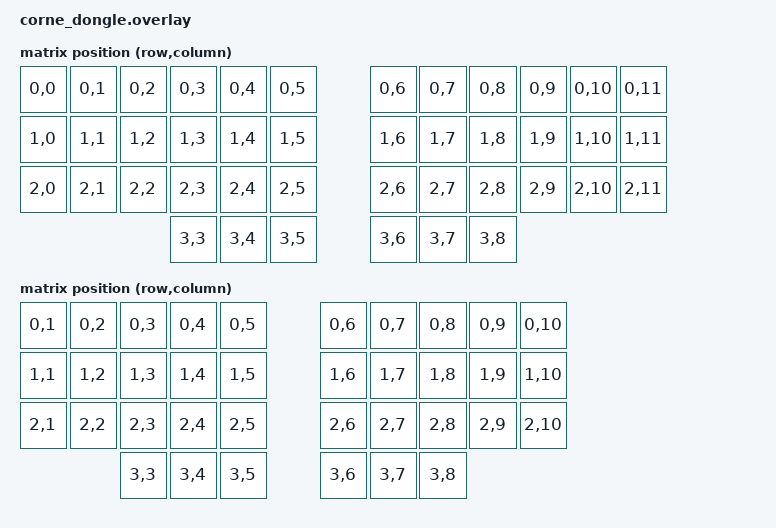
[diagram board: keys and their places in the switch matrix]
#include <dt-bindings/zmk/matrix_transform.h>
#include <layouts/foostan/corne/5column.dtsi>
#include <layouts/foostan/corne/6column.dtsi>

&foostan_corne_6col_layout {
    transform = <&default_transform>;
};

&foostan_corne_5col_layout {
    transform = <&five_column_transform>;
};

/ {
    chosen {
        zephyr,display = &oled;
        zmk,kscan = &mock_kscan;
        zmk,physical-layout = &foostan_corne_6col_layout;
    };

    default_transform: keymap_transform_0 {
        compatible = "zmk,matrix-transform";
        columns = <12>;
        rows = <4>;
// | SW1  | SW2  | SW3  | SW4  | SW5  | SW6  |   | SW6  | SW5  | SW4  | SW3  | SW2  | SW1  |
// | SW7  | SW8  | SW9  | SW10 | SW11 | SW12 |   | SW12 | SW11 | SW10 | SW9  | SW8  | SW7  |
// | SW13 | SW14 | SW15 | SW16 | SW17 | SW18 |   | SW18 | SW17 | SW16 | SW15 | SW14 | SW13 |
//                      | SW19 | SW20 | SW21 |   | SW21 | SW20 | SW19 |
        map = <
RC(0,0) RC(0,1) RC(0,2) RC(0,3) RC(0,4) RC(0,5)  RC(0,6) RC(0,7) RC(0,8) RC(0,9) RC(0,10) RC(0,11)
RC(1,0) RC(1,1) RC(1,2) RC(1,3) RC(1,4) RC(1,5)  RC(1,6) RC(1,7) RC(1,8) RC(1,9) RC(1,10) RC(1,11)
RC(2,0) RC(2,1) RC(2,2) RC(2,3) RC(2,4) RC(2,5)  RC(2,6) RC(2,7) RC(2,8) RC(2,9) RC(2,10) RC(2,11)
                        RC(3,3) RC(3,4) RC(3,5)  RC(3,6) RC(3,7) RC(3,8)
        >;
    };

    five_column_transform: keymap_transform_1 {
        compatible = "zmk,matrix-transform";
        columns = <10>;
        rows = <4>;
// | SW2  | SW3  | SW4  | SW5  | SW6  |   | SW6  | SW5  | SW4  | SW3  | SW2  |
// | SW8  | SW9  | SW10 | SW11 | SW12 |   | SW12 | SW11 | SW10 | SW9  | SW8  |
// | SW14 | SW15 | SW16 | SW17 | SW18 |   | SW18 | SW17 | SW16 | SW15 | SW14 |
//               | SW19 | SW20 | SW21 |   | SW21 | SW20 | SW19 |
        map = <
RC(0,1) RC(0,2) RC(0,3) RC(0,4) RC(0,5)  RC(0,6) RC(0,7) RC(0,8) RC(0,9) RC(0,10)
RC(1,1) RC(1,2) RC(1,3) RC(1,4) RC(1,5)  RC(1,6) RC(1,7) RC(1,8) RC(1,9) RC(1,10)
RC(2,1) RC(2,2) RC(2,3) RC(2,4) RC(2,5)  RC(2,6) RC(2,7) RC(2,8) RC(2,9) RC(2,10)
                        RC(3,3) RC(3,4) RC(3,5)  RC(3,6) RC(3,7) RC(3,8)
        >;
    };

    mock_kscan: kscan_0 {
        compatible = "zmk,kscan-mock";
        // wakeup-source;
        columns = <0>;
        rows = <0>;
        events = <0>;
    };

};

&pinctrl {
    spi0_default: spi0_default {
        group1 {
            psels = <NRF_PSEL(SPIM_SCK, 0, 20)>,
                    <NRF_PSEL(SPIM_MOSI, 0, 17)>,
                    <NRF_PSEL(SPIM_MISO, 0, 25)>; // MISO is likely unused but needed for the driver
        };
    };

    spi0_sleep: spi0_sleep {
        group1 {
            psels = <NRF_PSEL(SPIM_SCK, 0, 20)>,
                    <NRF_PSEL(SPIM_MOSI, 0, 17)>,
                    <NRF_PSEL(SPIM_MISO, 0, 25)>;
            low-power-enable;
        };
    };
};

&spi0 {
    compatible = "nordic,nrf-spim";
    status = "okay";
    pinctrl-0 = <&spi0_default>;
    pinctrl-1 = <&spi0_sleep>;
    pinctrl-names = "default", "sleep";
    // CS pin is P0.08 based on that PandaKB file
    cs-gpios = <&gpio0 8 GPIO_ACTIVE_HIGH>;

    oled: ssd1306@0 {
        compatible = "solomon,ssd1306fb";
        reg = <0>;
        spi-max-frequency = <2000000>;
        width = <128>;
        height = <64>; // Try 64 first, then 32 if it looks cut off
        segment-offset = <0>;
        page-offset = <0>;
        display-offset = <0>;
        multiplex-ratio = <63>;
        segment-remap;
        com-invdir;
        prechargep = <0x22>;
        // These pins are typical for SPI OLEDs
        data-cmd-gpio = <&gpio0 6 GPIO_ACTIVE_HIGH>; 
        // If there's no reset pin, we can omit it or use a dummy
    };
};

// Crucial: Disable I2C so it doesn't fight for the pins
&pro_micro_i2c {
    status = "disabled";
};
